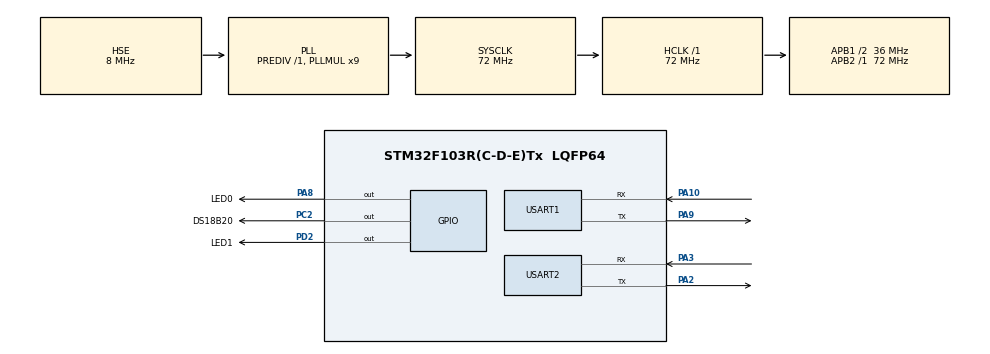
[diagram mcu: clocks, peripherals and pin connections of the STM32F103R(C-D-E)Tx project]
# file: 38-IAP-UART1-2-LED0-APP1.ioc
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Dma.Request0=USART2_RX
Dma.USART2_RX.0.Direction=DMA_PERIPH_TO_MEMORY
Dma.USART2_RX.0.Instance=DMA1_Channel6
Dma.USART2_RX.0.MemDataAlignment=DMA_MDATAALIGN_BYTE
Dma.USART2_RX.0.MemInc=DMA_MINC_ENABLE
Dma.USART2_RX.0.Mode=DMA_NORMAL
Dma.USART2_RX.0.PeriphDataAlignment=DMA_PDATAALIGN_BYTE
Dma.USART2_RX.0.PeriphInc=DMA_PINC_DISABLE
Dma.USART2_RX.0.Priority=DMA_PRIORITY_LOW
Mcu.Family=STM32F1
Mcu.Name=STM32F103R(C-D-E)Tx
Mcu.Package=LQFP64
NVIC.DMA1_Channel6_IRQn=true\:0\:0\:false\:false\:true\:false\:true\:true
NVIC.PriorityGroup=NVIC_PRIORITYGROUP_4
NVIC.TIM4_IRQn=true\:2\:0\:true\:false\:true\:true\:true\:true
NVIC.USART2_IRQn=true\:3\:0\:true\:false\:true\:true\:true\:true
PA10.Mode=Asynchronous
PA10.Signal=USART1_RX
PA13.Mode=Serial_Wire
PA13.Signal=SYS_JTMS-SWDIO
PA14.Mode=Serial_Wire
PA14.Signal=SYS_JTCK-SWCLK
PA2.Mode=Asynchronous
PA2.Signal=USART2_TX
PA3.Mode=Asynchronous
PA3.Signal=USART2_RX
PA8.GPIO_Label=LED0
PA8.GPIO_PuPd=GPIO_PULLUP
PA8.GPIO_Speed=GPIO_SPEED_FREQ_HIGH
PA8.PinState=GPIO_PIN_SET
PA8.Signal=GPIO_Output
PA9.Mode=Asynchronous
PA9.Signal=USART1_TX
PC2.GPIO_Label=DS18B20
PC2.GPIO_PuPd=GPIO_PULLUP
PC2.GPIO_Speed=GPIO_SPEED_FREQ_HIGH
PC2.Signal=GPIO_Output
PD0-OSC_IN.Mode=HSE-External-Oscillator
PD0-OSC_IN.Signal=RCC_OSC_IN
PD1-OSC_OUT.Mode=HSE-External-Oscillator
PD1-OSC_OUT.Signal=RCC_OSC_OUT
PD2.GPIO_Label=LED1
PD2.GPIO_PuPd=GPIO_PULLUP
PD2.GPIO_Speed=GPIO_SPEED_FREQ_HIGH
PD2.PinState=GPIO_PIN_SET
PD2.Signal=GPIO_Output
ProjectManager.HeapSize=0x200
ProjectManager.StackSize=0x400
ProjectManager.TargetToolchain=MDK-ARM V5.32
RCC.AHBFreq_Value=72000000
RCC.APB1CLKDivider=RCC_HCLK_DIV2
RCC.APB1Freq_Value=36000000
RCC.APB1TimFreq_Value=72000000
RCC.APB2Freq_Value=72000000
RCC.APB2TimFreq_Value=72000000
RCC.HCLKFreq_Value=72000000
RCC.PLLMUL=RCC_PLL_MUL9
RCC.PLLSourceVirtual=RCC_PLLSOURCE_HSE
RCC.SYSCLKFreq_VALUE=72000000
RCC.SYSCLKSource=RCC_SYSCLKSOURCE_PLLCLK
RCC.USBFreq_Value=72000000
TIM4.AutoReloadPreload=TIM_AUTORELOAD_PRELOAD_ENABLE
TIM4.Period=9
TIM4.Prescaler=7199
TIM7.Prescaler=71
USART1.VirtualMode=VM_ASYNC
USART2.VirtualMode=VM_ASYNC
VP_TIM4_VS_ClockSourceINT.Mode=Internal
VP_TIM7_VS_ClockSourceINT.Mode=Enable_Timer
board=custom

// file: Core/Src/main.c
/* USER CODE BEGIN Header */
/**
  ******************************************************************************
  * @file           : main.c
  * @brief          : Main program body
  ******************************************************************************
  * @attention
  *
  * Copyright (c) 2023 STMicroelectronics.
  * All rights reserved.
  *
  * This software is licensed under terms that can be found in the LICENSE file
  * in the root directory of this software component.
  * If no LICENSE file comes with this software, it is provided AS-IS.
  *
  ******************************************************************************
  */
/* USER CODE END Header */
#include "main.h"
#include "dma.h"
#include "tim.h"
#include "usart.h"
#include "gpio.h"

/* USER CODE BEGIN Includes */
#include "stdio.h"
#include "hello_ota_app.h"
/* USER CODE END Includes */

void SystemClock_Config(void);

/* USER CODE BEGIN 0 */
uint8_t		Rx_Flag = 0;
uint16_t		Rx_Len = 0;
uint8_t		Rx_Buf[Rx_Max] = {0};

int fputc(int ch, FILE *f)
{
	HAL_UART_Transmit(&huart1, (uint8_t *)&ch,1, 0xFFFF);
	return ch;
}
/* USER CODE END 0 */

int main(void)
{
  /* USER CODE BEGIN 1 */
//	__disable_irq();
	SCB->VTOR = FLASH_BASE | Application_2_Addr; /* 修改中断向量表 */
//	__enable_irq();
  /* USER CODE END 1 */

  /* MCU Configuration--------------------------------------------------------*/

  /* Reset of all peripherals, Initializes the Flash interface and the Systick. */
  HAL_Init();

  /* Configure the system clock */
  SystemClock_Config();

  /* Initialize all configured peripherals */
  MX_GPIO_Init();
  MX_DMA_Init();
  MX_USART1_UART_Init();
  MX_USART2_UART_Init();
  MX_TIM4_Init();
  MX_TIM7_Init();
  /* USER CODE BEGIN 2 */
	HAL_UART_Receive_DMA(&huart2, Rx_Buf, Rx_Max);
	__HAL_UART_ENABLE_IT(&huart2, UART_IT_IDLE);
//	HAL_TIM_Base_Start_IT(&htim4);
  /* USER CODE END 2 */

  /* Infinite loop */
  /* USER CODE BEGIN WHILE */
  while (1)
  {
		HAL_GPIO_TogglePin(LED1_GPIO_Port, LED1_Pin);
		printf("BBBBBB\r\n");
		HAL_Delay(500);
		ota_app();
    /* USER CODE END WHILE */

  }
}

void SystemClock_Config(void)
{
  RCC_OscInitTypeDef RCC_OscInitStruct = {0};
  RCC_ClkInitTypeDef RCC_ClkInitStruct = {0};

  /** Initializes the RCC Oscillators according to the specified parameters
  * in the RCC_OscInitTypeDef structure.
  */
  RCC_OscInitStruct.OscillatorType = RCC_OSCILLATORTYPE_HSE;
  RCC_OscInitStruct.HSEState = RCC_HSE_ON;
  RCC_OscInitStruct.HSEPredivValue = RCC_HSE_PREDIV_DIV1;
  RCC_OscInitStruct.HSIState = RCC_HSI_ON;
  RCC_OscInitStruct.PLL.PLLState = RCC_PLL_ON;
  RCC_OscInitStruct.PLL.PLLSource = RCC_PLLSOURCE_HSE;
  RCC_OscInitStruct.PLL.PLLMUL = RCC_PLL_MUL9;
  if (HAL_RCC_OscConfig(&RCC_OscInitStruct) != HAL_OK)
  {
    Error_Handler();
  }

  /** Initializes the CPU, AHB and APB buses clocks
  */
  RCC_ClkInitStruct.ClockType = RCC_CLOCKTYPE_HCLK|RCC_CLOCKTYPE_SYSCLK
                              |RCC_CLOCKTYPE_PCLK1|RCC_CLOCKTYPE_PCLK2;
  RCC_ClkInitStruct.SYSCLKSource = RCC_SYSCLKSOURCE_PLLCLK;
  RCC_ClkInitStruct.AHBCLKDivider = RCC_SYSCLK_DIV1;
  RCC_ClkInitStruct.APB1CLKDivider = RCC_HCLK_DIV2;
  RCC_ClkInitStruct.APB2CLKDivider = RCC_HCLK_DIV1;

  if (HAL_RCC_ClockConfig(&RCC_ClkInitStruct, FLASH_LATENCY_2) != HAL_OK)
  {
    Error_Handler();
  }
}

void Error_Handler(void)
{
  __disable_irq();
  while (1)
  {
  }
}
